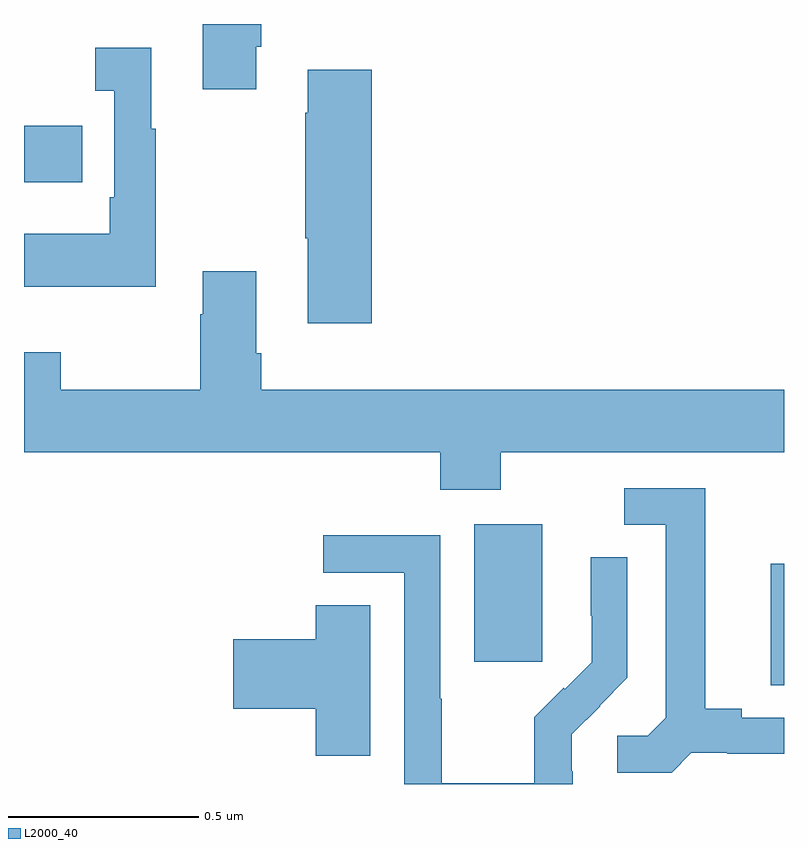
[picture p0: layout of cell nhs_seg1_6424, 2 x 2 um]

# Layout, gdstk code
import gdstk
lib = gdstk.Library(unit=1e-6, precision=1e-09)
def R(c, l, rs):  # rectangles x0, y0, x1, y1
    for r in rs: c.add(gdstk.rectangle(r[:2], r[2:], *l))
def P(c, l, *ps):  # polygons
    for p in ps: c.add(gdstk.Polygon(p, *l))
L2000_40 = (2000, 40)

nhs_seg1_6424 = lib.new_cell('nhs_seg1_6424')
R(nhs_seg1_6424, L2000_40, [(192.965,544.459,193,544.779), (192.185,544.521,192.364,544.882), (191,545.783,191.153,545.931)])
P(nhs_seg1_6424, L2000_40, [(191.611,546.139),(191.624,546.139),(191.624,546.199),(191.471,546.199),(191.471,546.027),(191.611,546.027)],
  [(191.347,545.923),(191.335,545.923),(191.335,546.136),(191.187,546.136),(191.187,546.023),(191.238,546.023),(191.238,545.743),(191.226,545.743),(191.226,545.647),(191,545.647),(191,545.507),(191.347,545.507)],
  [(191.915,546.079),(191.747,546.079),(191.747,545.966),(191.74,545.966),(191.74,545.635),(191.747,545.635),(191.747,545.412),(191.915,545.412)],
  [(192.255,545.072),(193,545.072),(193,545.236),(191.624,545.236),(191.624,545.332),(191.611,545.332),(191.611,545.548),(191.471,545.548),(191.471,545.435),(191.464,545.435),(191.464,545.236),(191.097,545.236),(191.097,545.335),(191,545.335),(191,545.072),(192.095,545.072),(192.095,544.973),(192.255,544.973)],
  [(192.756,544.281),(192.85,544.281),(192.85,544.278),(193,544.278),(193,544.374),(192.889,544.374),(192.889,544.397),(192.793,544.397),(192.793,544.977),(192.579,544.977),(192.579,544.881),(192.689,544.881),(192.689,544.373),(192.642,544.326),(192.561,544.326),(192.561,544.229),(192.704,544.229)],
  [(192.444,544.233),(192.442,544.233),(192.442,544.33),(192.516,544.404),(192.515,544.405),(192.588,544.478),(192.588,544.796),(192.492,544.796),(192.492,544.642),(192.494,544.642),(192.494,544.52),(192.423,544.449),(192.42,544.452),(192.343,544.375),(192.343,544.201),(192.099,544.201),(192.099,544.424),(192.096,544.424),(192.096,544.854),(191.787,544.854),(191.787,544.755),(192,544.755),(192,544.199),(192.444,544.199)],
  [(191.911,544.67),(191.768,544.67),(191.768,544.58),(191.55,544.58),(191.55,544.397),(191.768,544.397),(191.768,544.273),(191.911,544.273)])

lib.write_gds('nhs_seg1_6424.gds')
